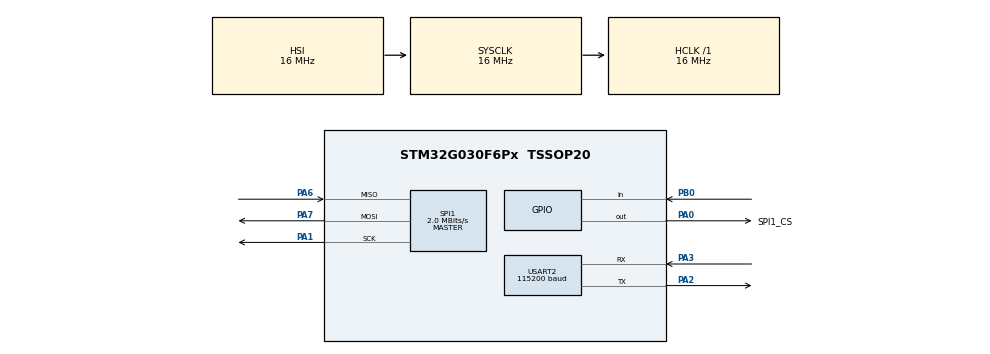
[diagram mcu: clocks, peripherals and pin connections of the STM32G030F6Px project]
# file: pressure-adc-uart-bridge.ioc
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Mcu.Family=STM32G0
Mcu.Name=STM32G030F6Px
Mcu.Package=TSSOP20
PA0.GPIO_Label=SPI1_CS
PA0.Signal=GPIO_Output
PA1.Mode=Full_Duplex_Master
PA1.Signal=SPI1_SCK
PA14-BOOT0__PA15.StandardMode=true
PA2.Mode=Asynchronous
PA2.Signal=USART2_TX
PA3.Mode=Asynchronous
PA3.Signal=USART2_RX
PA6.Mode=Full_Duplex_Master
PA6.Signal=SPI1_MISO
PA7.Mode=Full_Duplex_Master
PA7.Signal=SPI1_MOSI
PB0.Signal=GPIO_Input
PB0__PB1__PB2__PA8.StandardMode=true
PB3__PB4__PB5__PB6.StandardMode=true
PB7__PB8.StandardMode=true
PC14-OSC32_IN\ (PC14)__PB9.StandardMode=true
ProjectManager.HeapSize=0x200
ProjectManager.StackSize=0x400
ProjectManager.TargetToolchain=CMake
RCC.AHBFreq_Value=16000000
RCC.CortexFreq_Value=16000000
RCC.EXTERNAL_CLOCK_VALUE=12288000
RCC.HCLKFreq_Value=16000000
RCC.HSE_VALUE=8000000
RCC.HSI_VALUE=16000000
RCC.LSE_VALUE=32768
RCC.SYSCLKFreq_VALUE=16000000
RCC.VCOOutputFreq_Value=128000000
SPI1.BaudRatePrescaler=SPI_BAUDRATEPRESCALER_8
SPI1.CLKPhase=SPI_PHASE_2EDGE
SPI1.CalculateBaudRate=2.0 MBits/s
SPI1.Direction=SPI_DIRECTION_2LINES
SPI1.Mode=SPI_MODE_MASTER
SPI1.VirtualType=VM_MASTER
USART2.BaudRate=115200
USART2.VirtualMode-Asynchronous=VM_ASYNC
board=custom

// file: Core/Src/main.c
/* USER CODE BEGIN Header */
/**
  ******************************************************************************
  * @file           : main.c
  * @brief          : Main program body
  ******************************************************************************
  * @attention
  *
  * Copyright (c) 2026 STMicroelectronics.
  * All rights reserved.
  *
  * This software is licensed under terms that can be found in the LICENSE file
  * in the root directory of this software component.
  * If no LICENSE file comes with this software, it is provided AS-IS.
  *
  ******************************************************************************
  */
/* USER CODE END Header */
#include "main.h"

/* USER CODE BEGIN Includes */
  #include <string.h>
  #include <stdlib.h>

  #include "ADS1220IPWR.h"
/* USER CODE END Includes */

SPI_HandleTypeDef hspi1;

UART_HandleTypeDef huart2;

void SystemClock_Config(void);
static void MX_GPIO_Init(void);
static void MX_USART2_UART_Init(void);
static void MX_SPI1_Init(void);

/* USER CODE BEGIN 0 */

  void Send24BitPacket(uint32_t ch1, uint32_t ch2) {
      uint8_t frame[10];

      frame[0] = 0xDE;
      frame[1] = 0xAD;

      frame[2] = (uint8_t)(ch1 >> 16);
      frame[3] = (uint8_t)(ch1 >> 8);
      frame[4] = (uint8_t)(ch1);

      frame[5] = (uint8_t)(ch2 >> 16);
      frame[6] = (uint8_t)(ch2 >> 8);
      frame[7] = (uint8_t)(ch2);

      frame[8] = 0xBE;
      frame[9] = 0xEF;

      HAL_UART_Transmit(&huart2, frame, 10, 100);
  }
/* USER CODE END 0 */

int main(void)
{

  /* MCU Configuration--------------------------------------------------------*/

  /* Reset of all peripherals, Initializes the Flash interface and the Systick. */
  HAL_Init();

  /* Configure the system clock */
  SystemClock_Config();

  /* Initialize all configured peripherals */
  MX_GPIO_Init();
  MX_USART2_UART_Init();
  MX_SPI1_Init();
  /* USER CODE BEGIN 2 */

  srand(HAL_GetTick());

  ADS1220_Init(&hspi1);
  ADS1220_Reset();
  ADS1220_Configure();

  /* USER CODE END 2 */

  /* Infinite loop */
  while (1)
  {

    /* USER CODE BEGIN 3 */
    int32_t raw_ch1 = 0, raw_ch2 = 0;

    ADS1220_SelectChannel(ADS1220_CHANNEL_1);
    if (ADS1220_WaitForData(20) == HAL_OK) {
        raw_ch1 = ADS1220_ReadData();
    }

    ADS1220_SelectChannel(ADS1220_CHANNEL_2);
    if (ADS1220_WaitForData(20) == HAL_OK) {
        raw_ch2 = ADS1220_ReadData();
    }

    float voltage_ch1_mV = ADS1220_RawToVoltage_mV(raw_ch1);
    float voltage_ch2_mV = ADS1220_RawToVoltage_mV(raw_ch2);

    float pressure_ch1_Pa = ADS1220_VoltageToPressure_Pa(voltage_ch1_mV);
    float pressure_ch2_Pa = ADS1220_VoltageToPressure_Pa(voltage_ch2_mV);

    Send24BitPacket((uint32_t)pressure_ch1_Pa, (uint32_t)pressure_ch2_Pa);
    HAL_Delay(1);
  }
  /* USER CODE END 3 */
}

void SystemClock_Config(void)
{
  RCC_OscInitTypeDef RCC_OscInitStruct = {0};
  RCC_ClkInitTypeDef RCC_ClkInitStruct = {0};

  /** Configure the main internal regulator output voltage
  */
  HAL_PWREx_ControlVoltageScaling(PWR_REGULATOR_VOLTAGE_SCALE1);

  /** Initializes the RCC Oscillators according to the specified parameters
  * in the RCC_OscInitTypeDef structure.
  */
  RCC_OscInitStruct.OscillatorType = RCC_OSCILLATORTYPE_HSI;
  RCC_OscInitStruct.HSIState = RCC_HSI_ON;
  RCC_OscInitStruct.HSIDiv = RCC_HSI_DIV1;
  RCC_OscInitStruct.HSICalibrationValue = RCC_HSICALIBRATION_DEFAULT;
  RCC_OscInitStruct.PLL.PLLState = RCC_PLL_NONE;
  if (HAL_RCC_OscConfig(&RCC_OscInitStruct) != HAL_OK)
  {
    Error_Handler();
  }

  /** Initializes the CPU, AHB and APB buses clocks
  */
  RCC_ClkInitStruct.ClockType = RCC_CLOCKTYPE_HCLK|RCC_CLOCKTYPE_SYSCLK
                              |RCC_CLOCKTYPE_PCLK1;
  RCC_ClkInitStruct.SYSCLKSource = RCC_SYSCLKSOURCE_HSI;
  RCC_ClkInitStruct.AHBCLKDivider = RCC_SYSCLK_DIV1;
  RCC_ClkInitStruct.APB1CLKDivider = RCC_HCLK_DIV1;

  if (HAL_RCC_ClockConfig(&RCC_ClkInitStruct, FLASH_LATENCY_0) != HAL_OK)
  {
    Error_Handler();
  }
}

static void MX_SPI1_Init(void)
{

  /* SPI1 parameter configuration*/
  hspi1.Instance = SPI1;
  hspi1.Init.Mode = SPI_MODE_MASTER;
  hspi1.Init.Direction = SPI_DIRECTION_2LINES;
  hspi1.Init.DataSize = SPI_DATASIZE_8BIT;
  hspi1.Init.CLKPolarity = SPI_POLARITY_LOW;
  hspi1.Init.CLKPhase = SPI_PHASE_2EDGE;
  hspi1.Init.NSS = SPI_NSS_SOFT;
  hspi1.Init.BaudRatePrescaler = SPI_BAUDRATEPRESCALER_8;
  hspi1.Init.FirstBit = SPI_FIRSTBIT_MSB;
  hspi1.Init.TIMode = SPI_TIMODE_DISABLE;
  hspi1.Init.CRCCalculation = SPI_CRCCALCULATION_DISABLE;
  hspi1.Init.CRCPolynomial = 7;
  hspi1.Init.CRCLength = SPI_CRC_LENGTH_DATASIZE;
  hspi1.Init.NSSPMode = SPI_NSS_PULSE_DISABLE;
  if (HAL_SPI_Init(&hspi1) != HAL_OK)
  {
    Error_Handler();
  }

}

static void MX_USART2_UART_Init(void)
{

  huart2.Instance = USART2;
  huart2.Init.BaudRate = 57600;
  huart2.Init.WordLength = UART_WORDLENGTH_8B;
  huart2.Init.StopBits = UART_STOPBITS_1;
  huart2.Init.Parity = UART_PARITY_NONE;
  huart2.Init.Mode = UART_MODE_TX_RX;
  huart2.Init.HwFlowCtl = UART_HWCONTROL_NONE;
  huart2.Init.OverSampling = UART_OVERSAMPLING_16;
  huart2.Init.OneBitSampling = UART_ONE_BIT_SAMPLE_DISABLE;
  huart2.Init.ClockPrescaler = UART_PRESCALER_DIV1;
  huart2.AdvancedInit.AdvFeatureInit = UART_ADVFEATURE_NO_INIT;
  if (HAL_UART_Init(&huart2) != HAL_OK)
  {
    Error_Handler();
  }

}

static void MX_GPIO_Init(void)
{
  GPIO_InitTypeDef GPIO_InitStruct = {0};

  /* GPIO Ports Clock Enable */
  __HAL_RCC_GPIOA_CLK_ENABLE();
  __HAL_RCC_GPIOB_CLK_ENABLE();

  /*Configure GPIO pin Output Level */
  HAL_GPIO_WritePin(SPI1_CS_GPIO_Port, SPI1_CS_Pin, GPIO_PIN_RESET);

  /*Configure GPIO pin : SPI1_CS_Pin */
  GPIO_InitStruct.Pin = SPI1_CS_Pin;
  GPIO_InitStruct.Mode = GPIO_MODE_OUTPUT_PP;
  GPIO_InitStruct.Pull = GPIO_NOPULL;
  GPIO_InitStruct.Speed = GPIO_SPEED_FREQ_LOW;
  HAL_GPIO_Init(SPI1_CS_GPIO_Port, &GPIO_InitStruct);

  /*Configure GPIO pin : PB0 */
  GPIO_InitStruct.Pin = GPIO_PIN_0;
  GPIO_InitStruct.Mode = GPIO_MODE_INPUT;
  GPIO_InitStruct.Pull = GPIO_NOPULL;
  HAL_GPIO_Init(GPIOB, &GPIO_InitStruct);

}

void Error_Handler(void)
{
  __disable_irq();
  while (1)
  {
  }
}
